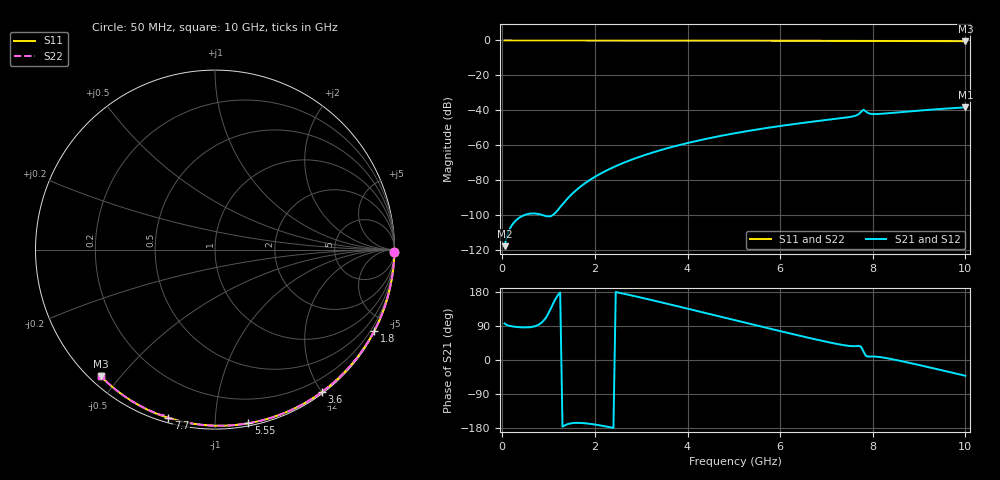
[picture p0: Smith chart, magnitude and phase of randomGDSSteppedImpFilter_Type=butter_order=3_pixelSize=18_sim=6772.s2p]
! freq	dB(S11)	phase(S11)	dB(S12)	phase(S12)
!  dB(S21)	phase(S21)	dB(S22)	phase(S22)
!S-par simulation data
#  GHz  S  DB  R 50
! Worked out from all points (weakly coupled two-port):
!   200 points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, 50 MHz to 10 GHz, reference 50 ohm
!   highest |S21| = -38.29 dB at 10 GHz (marker M1); lowest = -117.7 dB at 50 MHz (marker M2)
!   lowest |S11| = -0.4 dB at 10 GHz (marker M3), VSWR 39.22, Z = 1.53 - j22.2 ohm
!   |S11| at or under -10 dB: nowhere
!   |S22| runs from -0.4 to 0.0 dB; largest |S21 - S12| = 0
!   S11 on the Smith chart (normalised r, x): 50 MHz: open; 1.8 GHz: 0.04, -4.15; 3.6 GHz: 0.02, -2.01; 5.55 GHz: 0.02, -1.21; 7.7 GHz: 0.02, -0.76; 10 GHz: 0.03, -0.44
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0.05  -0.00 -0.8  -117.75 96.4  -117.75 96.4  -0.00 -0.8
0.9  -0.02 -13.7  -100.18 105.1  -100.18 105.1  -0.02 -13.6
1.75  -0.03 -26.4  -82.43 -166.5  -82.43 -166.5  -0.03 -26.3
1.8  -0.03 -27.1  -81.47 -167.1  -81.47 -167.1  -0.03 -27.1
1.9  -0.04 -28.6  -79.69 -168.5  -79.69 -168.5  -0.04 -28.6
2.25  -0.04 -33.7  -74.44 -175.7  -74.44 -175.7  -0.04 -33.7
2.65  -0.05 -39.5  -69.71 174.2  -69.71 174.2  -0.05 -39.5
3  -0.06 -44.5  -66.28 164.6  -66.28 164.6  -0.06 -44.5
3.4  -0.07 -50.2  -62.92 153.1  -62.92 153.1  -0.07 -50.2
3.6  -0.07 -53.0  -61.43 147.3  -61.43 147.3  -0.07 -53.0
4.3  -0.09 -62.6  -56.90 126.6  -56.90 126.6  -0.09 -62.6
5.05  -0.11 -72.6  -52.98 104.3  -52.98 104.3  -0.11 -72.6
5.55  -0.13 -79.1  -50.75 89.4  -50.75 89.4  -0.13 -79.1
6.7  -0.18 -93.6  -46.47 56.2  -46.47 56.2  -0.18 -93.6
7.5  -0.23 -103.2  -43.81 37.0  -43.81 37.0  -0.23 -103.3
7.6  -0.24 -104.4  -43.28 36.4  -43.28 36.4  -0.24 -104.6
7.7  -0.25 -105.6  -42.11 37.0  -42.11 37.0  -0.26 -105.9
7.8  -0.25 -106.7  -39.66 22.4  -39.66 22.4  -0.33 -106.8
7.9  -0.25 -107.9  -41.58 9.0  -41.58 9.0  -0.28 -107.8
7.95  -0.25 -108.5  -42.00 9.2  -42.00 9.2  -0.27 -108.4
8.35  -0.29 -113.3  -41.63 3.7  -41.63 3.7  -0.29 -113.2
10  -0.44 -132.1  -38.29 -41.6  -38.29 -41.6  -0.45 -132.2
